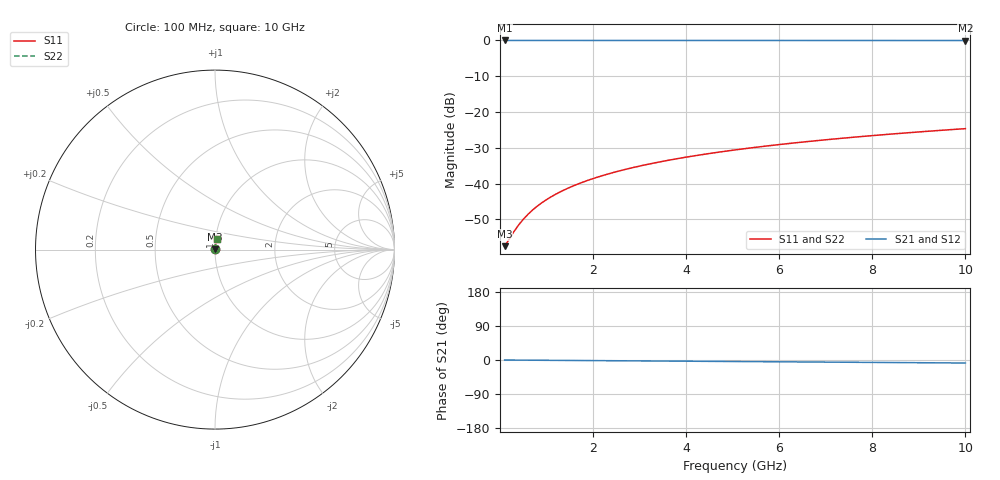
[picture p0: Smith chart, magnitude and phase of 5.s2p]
# Hz S RI R 50.00
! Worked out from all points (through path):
!   100 points, 100 MHz to 10 GHz, reference 50 ohm
!   highest |S21| = -0.01 dB at 100 MHz (marker M1); lowest = 0.0 dB at 10 GHz (marker M2)
!   group delay of S21, straight-line fit = 2.21 ps
!   lowest |S11| = -57.5 dB at 100 MHz (marker M3), VSWR 1.00, Z = 50.1 + j0.0584 ohm
!   |S11| at or under -10 dB: start of sweep to end of sweep
!   |S22| runs from -57.5 to -24.6 dB; largest |S21 - S12| = 0
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1e8  0.00121 0.000583  0.9988 -0.00138  0.9988 -0.00138  0.00121 0.000583
3e8  0.00122 0.00175  0.9988 -0.00413  0.9988 -0.00413  0.00122 0.00175
4e8  0.00123 0.00233  0.9988 -0.00551  0.9988 -0.00551  0.00123 0.00233
5e8  0.00125 0.00291  0.9987 -0.00688  0.9987 -0.00688  0.00125 0.00291
6e8  0.00126 0.0035  0.9987 -0.00826  0.9987 -0.00826  0.00126 0.0035
7e8  0.00127 0.00408  0.9987 -0.00964  0.9987 -0.00964  0.00127 0.00408
8e8  0.00129 0.00466  0.9987 -0.011  0.9987 -0.011  0.00129 0.00466
1e9  0.00132 0.00583  0.9986 -0.0138  0.9986 -0.0138  0.00132 0.00583
1.2e9  0.00136 0.00699  0.9986 -0.0165  0.9986 -0.0165  0.00136 0.00699
1.5e9  0.00143 0.00874  0.9985 -0.0207  0.9985 -0.0207  0.00143 0.00874
1.8e9  0.00151 0.0105  0.9984 -0.0248  0.9984 -0.0248  0.00151 0.0105
2.1e9  0.00161 0.0122  0.9982 -0.0289  0.9982 -0.0289  0.00161 0.0122
2.5e9  0.00177 0.0146  0.998 -0.0344  0.998 -0.0344  0.00177 0.0146
2.9e9  0.00194 0.0169  0.9978 -0.0399  0.9978 -0.0399  0.00194 0.0169
3.4e9  0.0022 0.0198  0.9974 -0.0468  0.9974 -0.0468  0.0022 0.0198
4.2e9  0.0027 0.0244  0.9967 -0.0579  0.9967 -0.0579  0.0027 0.0244
5.1e9  0.00338 0.0297  0.9958 -0.0703  0.9958 -0.0703  0.00338 0.0297
5.9e9  0.0041 0.0343  0.9947 -0.0813  0.9947 -0.0813  0.0041 0.0343
6.7e9  0.00492 0.0389  0.9936 -0.0923  0.9936 -0.0923  0.00492 0.0389
7.5e9  0.00584 0.0435  0.9923 -0.1033  0.9923 -0.1033  0.00584 0.0435
8.4e9  0.00701 0.0487  0.9907 -0.1157  0.9907 -0.1157  0.00701 0.0487
1e10  0.0094 0.0578  0.9873 -0.1377  0.9873 -0.1377  0.0094 0.0578
